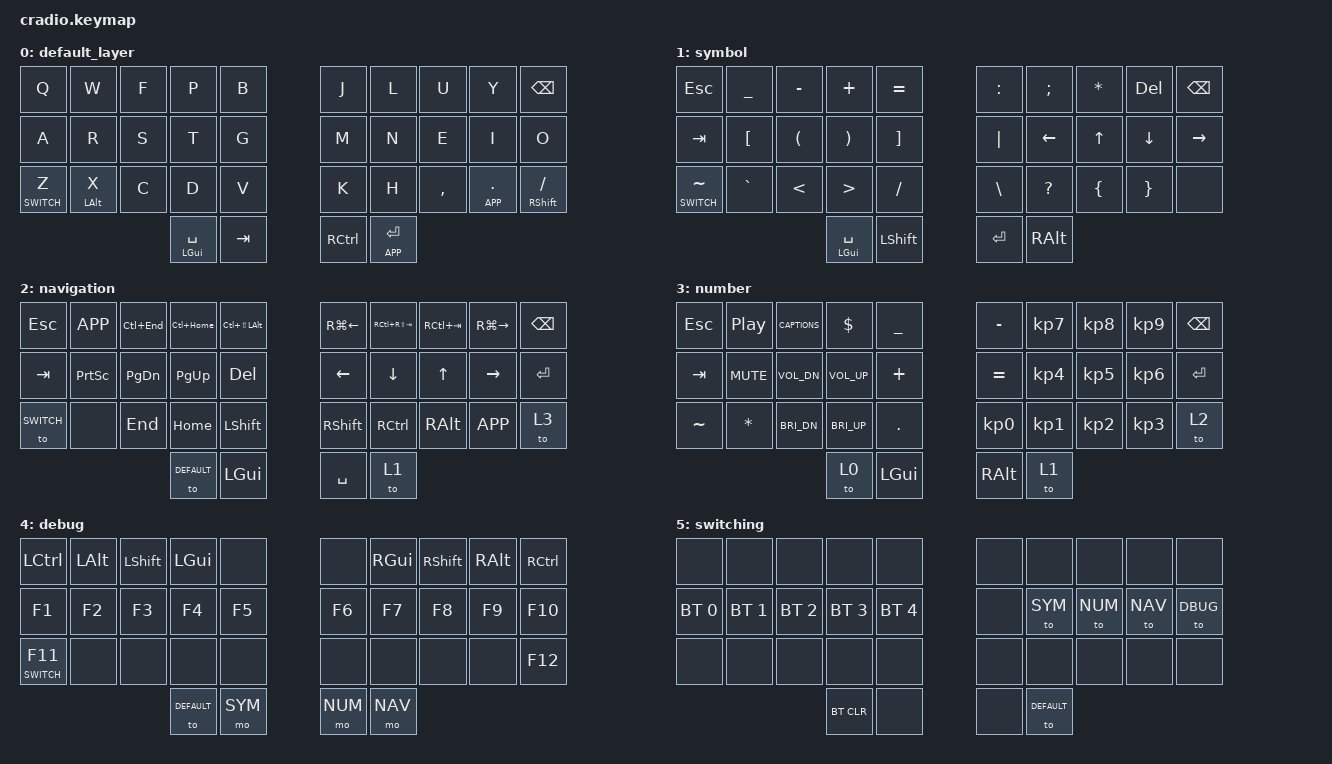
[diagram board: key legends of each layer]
/*
 * Copyright (c) 2020 The ZMK Contributors
 *
 * SPDX-License-Identifier: MIT
 */

#include <behaviors.dtsi>
#include <dt-bindings/zmk/keys.h>
#include <dt-bindings/zmk/bt.h>

// Layer Definition
#define DEFAULT 0
#define SYM 	1
#define NAV 	2
#define NUM		3
#define DBUG 	4
#define SWITCH	5

// Behanvior OVerrides
&mt {
   flavor = "tap-preferred";
   tapping_term_ms = <200>;
};

&lt {
	flavor = "hold-preferred";
	tapping_term_ms = <200>;
};

/ {
	behaviors {
		sm: space_mod {
			compatible = "zmk,behavior-hold-tap";
			label = "SPACE_MOD";
			#binding-cells = <2>;
			flavor = "balanced"
			tapping-term-ms = <200>;
			quick-tap-ms = <125>;
			bindings = <&kp>, <&kp>;
		};


	};
};

/ {

        keymap {
                compatible = "zmk,keymap";
                
       		default_layer { /*      LAYER 0      */
// ------------------------------------------------------------------------------
//        |       Q      |    W     | F |      P       |  B  | # |    J     |           L          | U | Y | BACKSPACE |
//        |       A      |    R     | S |      T       |  G  | # |    M     |           N          | E | I |     O     |
//        | Z (SWITCH_L) | X (LALT) | C |      D       |  V  | # |    K     |           H          | , | . | / (SHIFT) |
//                               	    | SPACE (LGUI) | TAB | # | RCONTROL | RETURN (APPLICATION) | 

		bindings = <
		&kp Q 		 &kp W 		&kp F &kp P     &kp B   /**/ &kp J     &kp L &kp U     &kp Y         &kp BACKSPACE 
		&kp A 	     &kp R 		&kp S &kp T     &kp G   /**/ &kp M     &kp N &kp E     &kp I         &kp O
		&lt SWITCH Z &mt LALT X &kp C &kp D     &kp V   /**/ &kp K     &kp H &kp COMMA &mt K_APP DOT &mt RSHIFT FSLH 
          			             &sm LGUI SPACE &kp TAB /**/ &kp RCTRL &mt K_APP RETURN
		>;
		};

       	    symbol { /*      LAYER 1      */
// ------------------------------------------------------------------------------
//        |      ESC      | _ | - |    +   |    =   | # |   :    |   ;  |   *   | DELETE | BACKSPACE |
//        |      TAB      | [ | ( |    )   |    ]   | # |   |    | LEFT |   UP  |  DOWN  |   RIGHT   |
//        |  ~ (SWITCH_L) | ` | < |    >   |    /   | # |   \    |   ?  |   {   |   }    |           |
//                      	| SPACE (LGUI) | LSHIFT | # | RETURN | RALT | 

		bindings = <
		&kp ESCAPE       &kp UNDER &kp MINUS     &kp PLUS         &kp EQUAL /**/ &kp COLON  &kp SEMI  &kp ASTRK &kp DEL  &kp BSPC 
		&kp TAB          &kp LBKT  &kp LPAR      &kp RPAR         &kp RBKT  /**/ &kp PIPE   &kp LEFT  &kp UP    &kp DOWN &kp RIGHT
		&lt SWITCH TILDE &kp GRAVE &kp LESS_THAN &kp GREATER_THAN &kp SLASH /**/ &kp BSLH   &kp QMARK &kp LBRC  &kp RBRC &none  
					                             &sm LGUI SPACE   &kp LSHFT /**/ &kp RETURN &kp RALT  
		>;
		};
		
		    navigation { /*      LAYER 2      */
// ------------------------------------------------------------------------------
//        |    ESC    | APPLICATION | END PAGE  | BEG PAGE |   MEH  | # | WIN LEFT | PREV TAB | NXT TAB |  WIN RIGHT  | BACKSPACE |
//        |    TAB    |  PRINT SCR  | PAGE DOWN | PAGE UP  | DELETE | # |          |   LEFT   |   DOWN  |      UP     |   RIGHT   |
//        |  SWTICH_L |             |    END    |   HOME   | LSHIFT | # |  RSHIFT  | RCONTROL |   RALT  | APPLICATION |  NUMBER_L |
//                                              |  BASE_L  |  LGUI  | # |   RALT   | SYMBOL_L |
		bindings = <
		&kp ESCAPE   &kp K_APP  &kp LC(END) &kp LC(HOME) &kp LC(LS(LALT)) /**/ &kp RG(LEFT) &kp RC(RS(TAB)) &kp RC(TAB) &kp RG(RIGHT) &kp BACKSPACE 
		&kp TAB      &kp PSCRN  &kp PG_DN   &kp PG_UP    &kp DELETE       /**/ &kp LEFT     &kp DOWN        &kp UP      &kp RIGHT     &kp RETURN
		&to SWITCH   &none      &kp END     &kp HOME     &kp LSHIFT       /**/ &kp RSHFT    &kp RCTRL       &kp RALT    &kp K_APP     &to 3 
					                        &to DEFAULT  &kp LGUI         /**/ &kp SPC      &to 1 
		>;
		};	
		
		    number { /*      LAYER 3      */
// ------------------------------------------------------------------------------
//        | ESC | PLAY/PAUSE | CAPTIONS |    $   |    _   | # |   -   |     7     | 8 |   9   | BACKSPACE |
//        | TAB |    MUTE    | VOL_DOWN | VOL_UP |    +   | # |   =   |     4     | 5 |   6   |  RETURN   |
//        |  ~  |     *      | BRI_DOWN | BRI_UP |    .   | # |   0   |     1     | 2 |   3   |  MOVE_L   |
//                                      | BASE_L |  LGUI  | # |  RALT |  SYMBOL_L |
// ------------------------------------------------------------------------------
//        |    !   | @ | # | $ | % | # | ^ | & | * | CAPS | BACKSPACE |
//        |    1   | 2 | 3 | 4 | 5 | # | 6 | 7 | 8 |  9   | 0 |
//        | SWITCH |   |   |   |   | # |   |   |   |      |   |
//                         | SPACE (LCNTRL) | LSHIFT | # | RETURN | RALT |
		bindings = <
		&kp ESCAPE &kp C_PLAY_PAUSE &kp C_CAPTIONS &kp DOLLAR   &kp UNDERSCORE /**/ &kp MINUS &kp KP_N7 &kp KP_N8 &kp KP_N9 &kp BACKSPACE
		&kp TAB    &kp C_MUTE       &kp C_VOL_DN   &kp C_VOL_UP &kp PLUS       /**/ &kp EQUAL &kp KP_N4 &kp KP_N5 &kp KP_N6 &kp RETURN
		&kp TILDE  &kp ASTERISK     &kp C_BRI_DN   &kp C_BRI_UP &kp DOT        /**/ &kp KP_N0 &kp KP_N1 &kp KP_N2 &kp KP_N3 &to 2    
					                               &to 0        &kp LGUI       /**/ &kp RALT  &to 1 
		>;
		};

        debug { /*      LAYER 4      */
// ------------------------------------------------------------------------------
//        |     LCNTRL     | LALT | LSHIFt |  LGUI  |           | # |           |  RGUI  | RSHIFT | RALT | RCNTRL |
//        |       F1       |  F2  |   F3   |   F4   |    F5     | # |    F6     |   F7   |   F8   |  F9  |  F10   |
//        | F11 (SWITCH_L) |      |        |        |           | # |           |   F12  |        |      |  F12   |
//                 	     		   | BASE_L | T(SYMBOL) | # | T(NUMBER) | T(NAV) |
		bindings = <
		&kp LCTRL      &kp LALT &kp LSHIFT &kp LGUI    &none   /**/ &none   &kp RGUI &kp RSHFT &kp RALT &kp RCTRL
		&kp F1 	       &kp F2   &kp F3     &kp F4      &kp F5  /**/ &kp F6  &kp F7    &kp F8   &kp F9 &kp F10
		&lt SWITCH F11 &none    &none      &none       &none   /**/ &none   &none    &none     &none    &kp F12 
							 		       &to DEFAULT &mo SYM /**/ &mo NUM &mo NAV 
		>;
		};

		switching { /*      LAYER 5      */
// ------------------------------------------------------------------------------
//        |  F1  |  F2  |  F3  |   F4   |  F5  | # | F6 |    F7    |    F8    |  F9   | F10  |
//        | BT_0 | BT_1 | BT_2 |  BT_3  | BT_4 | # |    | SYMBOL_L | NUMBER_L | NAV_L | DBUG |
//        |  F11 |      |      |        |      | # |    |          |          |       |  F12 |
//                 			   | BT_CLR |      | # |    |  BASE_L  |
		bindings = <
		&none        &none        &none        &none        &none        /**/ &none  &none   &none   &none   &none 
		&bt BT_SEL 0 &bt BT_SEL 1 &bt BT_SEL 2 &bt BT_SEL 3 &bt BT_SEL 4 /**/ &none  &to SYM &to NUM &to NAV &to DBUG
		&none        &none  	  &none        &none        &none        /**/ &none  &none   &none   &none   &none   
					         				   &bt BT_CLR   &none        /**/ &none  &to DEFAULT 
		>;
		};	
        
	};
};
